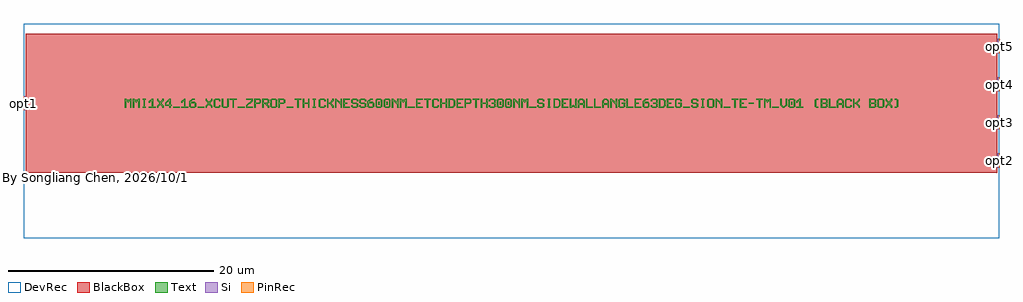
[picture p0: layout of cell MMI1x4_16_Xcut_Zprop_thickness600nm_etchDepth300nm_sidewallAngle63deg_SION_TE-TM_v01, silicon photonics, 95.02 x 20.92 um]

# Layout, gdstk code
import gdstk
lib = gdstk.Library(unit=1e-6, precision=1e-10)
def R(c, l, rs):  # rectangles x0, y0, x1, y1
    for r in rs: c.add(gdstk.rectangle(r[:2], r[2:], *l))
def A(c, l, x, y, w, h, nx, ny, dx, dy):  # array of equal rectangles
    R(c, l, [(x+i*dx, y+j*dy, x+i*dx+w, y+j*dy+h) for i in range(nx) for j in range(ny)])
def P(c, l, *ps):  # polygons
    for p in ps: c.add(gdstk.Polygon(p, *l))
Si = (1, 0)
PinRec = (1, 10)
Text = (10, 0)
DevRec = (68, 0)
BlackBox = (998, 0)

text = lib.new_cell('TEXT')
A(text, Text, 15.76, 0, 0.657, 0.131, 3, 1, 11.82, 0)
R(text, Text, [(4.728,0,5.385,0.131), (7.092,0,7.749,0.131), (11.032,0,11.689,0.131), (54.372,0,55.029,0.131), (58.312,0,58.969,0.131), (63.04,0,63.697,0.131), (24.691,0.328,24.822,0.591), (25.479,0.328,25.61,0.591), (36.511,0.328,36.642,0.591), (37.299,0.328,37.43,0.591), (64.879,0.328,65.01,0.591), (60.742,0.394,61.267,0.526)])
P(text, Text, [(0,0),(0,0.92),(0.131,0.92),(0.263,0.788),(0.394,0.788),(0.526,0.92),(0.657,0.92),(0.657,0),(0.526,0),(0.526,0.657),(0.46,0.657),(0.328,0.526),(0.197,0.657),(0.131,0.657),(0.131,0)],
  [(0.788,0),(0.788,0.92),(0.919,0.92),(1.051,0.788),(1.182,0.788),(1.314,0.92),(1.445,0.92),(1.445,0),(1.314,0),(1.314,0.657),(1.248,0.657),(1.116,0.526),(0.985,0.657),(0.919,0.657),(0.919,0)],
  [(1.773,0),(1.773,0.131),(1.839,0.131),(1.839,0.788),(1.773,0.788),(1.773,0.92),(2.036,0.92),(2.036,0.788),(1.97,0.788),(1.97,0.131),(2.036,0.131),(2.036,0)],
  [(2.364,0),(2.364,0.131),(2.627,0.131),(2.627,0.657),(2.561,0.657),(2.43,0.526),(2.364,0.526),(2.364,0.657),(2.627,0.92),(2.758,0.92),(2.758,0.131),(3.021,0.131),(3.021,0)],
  [(3.152,0),(3.152,0.197),(3.349,0.394),(3.349,0.526),(3.152,0.723),(3.152,0.92),(3.283,0.92),(3.283,0.788),(3.48,0.591),(3.678,0.788),(3.678,0.92),(3.809,0.92),(3.809,0.723),(3.612,0.526),(3.612,0.394),(3.809,0.197),(3.809,0),(3.678,0),(3.678,0.131),(3.48,0.328),(3.283,0.131),(3.283,0)],
  [(4.334,0),(4.334,0.197),(3.94,0.197),(3.94,0.328),(4.334,0.328),(4.334,0.657),(4.268,0.657),(4.071,0.46),(4.071,0.328),(3.94,0.328),(3.94,0.526),(4.334,0.92),(4.466,0.92),(4.466,0.328),(4.597,0.328),(4.597,0.197),(4.466,0.197),(4.466,0)],
  [(5.516,0),(5.516,0.131),(5.779,0.131),(5.779,0.657),(5.713,0.657),(5.582,0.526),(5.516,0.526),(5.516,0.657),(5.779,0.92),(5.91,0.92),(5.91,0.131),(6.173,0.131),(6.173,0)],
  [(6.435,0),(6.304,0.131),(6.304,0.657),(6.567,0.92),(6.83,0.92),(6.83,0.788),(6.632,0.788),(6.501,0.657),(6.501,0.591),(6.83,0.591),(6.961,0.46),(6.501,0.46),(6.435,0.394),(6.435,0.197),(6.501,0.131),(6.764,0.131),(6.83,0.197),(6.83,0.394),(6.764,0.46),(6.961,0.46),(6.961,0.131),(6.83,0)],
  [(7.88,0),(7.88,0.197),(8.077,0.394),(8.077,0.526),(7.88,0.723),(7.88,0.92),(8.011,0.92),(8.011,0.788),(8.208,0.591),(8.406,0.788),(8.406,0.92),(8.537,0.92),(8.537,0.723),(8.34,0.526),(8.34,0.394),(8.537,0.197),(8.537,0),(8.406,0),(8.406,0.131),(8.208,0.328),(8.011,0.131),(8.011,0)],
  [(8.799,0),(8.668,0.131),(8.668,0.788),(8.799,0.92),(9.194,0.92),(9.325,0.788),(9.325,0.657),(9.194,0.657),(9.194,0.723),(9.128,0.788),(8.865,0.788),(8.799,0.723),(8.799,0.197),(8.865,0.131),(9.128,0.131),(9.194,0.197),(9.194,0.263),(9.325,0.263),(9.325,0.131),(9.194,0)],
  [(9.587,0),(9.456,0.131),(9.456,0.92),(9.587,0.92),(9.587,0.197),(9.653,0.131),(9.916,0.131),(9.982,0.197),(9.982,0.92),(10.113,0.92),(10.113,0.131),(9.982,0)],
  [(10.507,0),(10.507,0.788),(10.244,0.788),(10.244,0.92),(10.901,0.92),(10.901,0.788),(10.638,0.788),(10.638,0)],
  [(11.82,0),(11.82,0.263),(12.083,0.526),(12.148,0.526),(12.346,0.723),(12.346,0.788),(11.82,0.788),(11.82,0.92),(12.477,0.92),(12.477,0.657),(12.214,0.394),(12.148,0.394),(11.951,0.197),(11.951,0.131),(12.477,0.131),(12.477,0)],
  [(12.608,0),(12.608,0.92),(13.134,0.92),(13.265,0.788),(13.265,0.526),(13.134,0.394),(12.739,0.394),(12.739,0.526),(13.068,0.526),(13.134,0.591),(13.134,0.723),(13.068,0.788),(12.739,0.788),(12.739,0)],
  [(13.396,0),(13.396,0.92),(13.922,0.92),(14.053,0.788),(13.527,0.788),(13.527,0.526),(13.856,0.526),(13.922,0.591),(13.922,0.723),(13.856,0.788),(14.053,0.788),(14.053,0.526),(13.922,0.394),(13.922,0.328),(14.053,0.197),(14.053,0),(13.922,0),(13.922,0.131),(13.659,0.394),(13.527,0.394),(13.527,0)],
  [(14.315,0),(14.184,0.131),(14.184,0.788),(14.315,0.92),(14.71,0.92),(14.841,0.788),(14.841,0.46),(14.71,0.46),(14.71,0.723),(14.644,0.788),(14.381,0.788),(14.315,0.723),(14.315,0.197),(14.381,0.131),(14.644,0.131),(14.71,0.197),(14.71,0.46),(14.841,0.46),(14.841,0.131),(14.71,0)],
  [(14.972,0),(14.972,0.92),(15.498,0.92),(15.629,0.788),(15.629,0.526),(15.498,0.394),(15.103,0.394),(15.103,0.526),(15.432,0.526),(15.498,0.591),(15.498,0.723),(15.432,0.788),(15.103,0.788),(15.103,0)],
  [(16.811,0),(16.811,0.788),(16.548,0.788),(16.548,0.92),(17.205,0.92),(17.205,0.788),(16.942,0.788),(16.942,0)],
  [(17.336,0),(17.336,0.92),(17.467,0.92),(17.467,0.526),(17.862,0.526),(17.862,0.92),(17.993,0.92),(17.993,0),(17.862,0),(17.862,0.394),(17.467,0.394),(17.467,0)],
  [(18.321,0),(18.321,0.131),(18.387,0.131),(18.387,0.788),(18.321,0.788),(18.321,0.92),(18.584,0.92),(18.584,0.788),(18.518,0.788),(18.518,0.131),(18.584,0.131),(18.584,0)],
  [(19.043,0),(18.912,0.131),(18.912,0.788),(19.043,0.92),(19.438,0.92),(19.569,0.788),(19.569,0.657),(19.438,0.657),(19.438,0.723),(19.372,0.788),(19.109,0.788),(19.043,0.723),(19.043,0.197),(19.109,0.131),(19.372,0.131),(19.438,0.197),(19.438,0.263),(19.569,0.263),(19.569,0.131),(19.438,0)],
  [(19.7,0),(19.7,0.92),(19.831,0.92),(19.831,0.526),(19.963,0.526),(20.226,0.788),(20.226,0.92),(20.357,0.92),(20.357,0.723),(20.094,0.46),(20.357,0.197),(20.357,0),(20.226,0),(20.226,0.131),(19.963,0.394),(19.831,0.394),(19.831,0)],
  [(20.488,0),(20.488,0.92),(20.619,0.92),(20.948,0.591),(21.014,0.591),(21.014,0.92),(21.145,0.92),(21.145,0),(21.014,0),(21.014,0.328),(20.685,0.657),(20.619,0.657),(20.619,0)],
  [(21.276,0),(21.276,0.92),(21.933,0.92),(21.933,0.788),(21.407,0.788),(21.407,0.526),(21.67,0.526),(21.67,0.394),(21.407,0.394),(21.407,0.131),(21.933,0.131),(21.933,0)],
  [(22.195,0),(22.064,0.131),(22.064,0.263),(22.195,0.263),(22.195,0.197),(22.261,0.131),(22.524,0.131),(22.59,0.197),(22.59,0.328),(22.524,0.394),(22.195,0.394),(22.064,0.526),(22.064,0.788),(22.195,0.92),(22.59,0.92),(22.721,0.788),(22.721,0.657),(22.59,0.657),(22.59,0.723),(22.524,0.788),(22.261,0.788),(22.195,0.723),(22.195,0.591),(22.261,0.526),(22.59,0.526),(22.721,0.394),(22.721,0.131),(22.59,0)],
  [(22.983,0),(22.852,0.131),(22.852,0.263),(22.983,0.263),(22.983,0.197),(23.049,0.131),(23.312,0.131),(23.378,0.197),(23.378,0.328),(23.312,0.394),(22.983,0.394),(22.852,0.526),(22.852,0.788),(22.983,0.92),(23.378,0.92),(23.509,0.788),(23.509,0.657),(23.378,0.657),(23.378,0.723),(23.312,0.788),(23.049,0.788),(22.983,0.723),(22.983,0.591),(23.049,0.526),(23.378,0.526),(23.509,0.394),(23.509,0.131),(23.378,0)],
  [(23.771,0),(23.64,0.131),(23.64,0.657),(23.903,0.92),(24.166,0.92),(24.166,0.788),(23.968,0.788),(23.837,0.657),(23.837,0.591),(24.166,0.591),(24.297,0.46),(23.837,0.46),(23.771,0.394),(23.771,0.197),(23.837,0.131),(24.1,0.131),(24.166,0.197),(24.166,0.394),(24.1,0.46),(24.297,0.46),(24.297,0.131),(24.166,0)],
  [(24.559,0),(24.428,0.131),(24.428,0.788),(24.559,0.92),(24.954,0.92),(25.085,0.788),(24.625,0.788),(24.559,0.723),(24.559,0.197),(24.625,0.131),(24.888,0.131),(24.954,0.197),(24.954,0.723),(24.888,0.788),(25.085,0.788),(25.085,0.131),(24.954,0)],
  [(25.347,0),(25.216,0.131),(25.216,0.788),(25.347,0.92),(25.742,0.92),(25.873,0.788),(25.413,0.788),(25.347,0.723),(25.347,0.197),(25.413,0.131),(25.676,0.131),(25.742,0.197),(25.742,0.723),(25.676,0.788),(25.873,0.788),(25.873,0.131),(25.742,0)],
  [(26.004,0),(26.004,0.92),(26.135,0.92),(26.464,0.591),(26.53,0.591),(26.53,0.92),(26.661,0.92),(26.661,0),(26.53,0),(26.53,0.328),(26.201,0.657),(26.135,0.657),(26.135,0)],
  [(26.792,0),(26.792,0.92),(26.923,0.92),(27.055,0.788),(27.186,0.788),(27.318,0.92),(27.449,0.92),(27.449,0),(27.318,0),(27.318,0.657),(27.252,0.657),(27.12,0.526),(26.989,0.657),(26.923,0.657),(26.923,0)],
  [(28.368,0),(28.368,0.92),(29.025,0.92),(29.025,0.788),(28.499,0.788),(28.499,0.526),(28.762,0.526),(28.762,0.394),(28.499,0.394),(28.499,0.131),(29.025,0.131),(29.025,0)],
  [(29.419,0),(29.419,0.788),(29.156,0.788),(29.156,0.92),(29.813,0.92),(29.813,0.788),(29.55,0.788),(29.55,0)],
  [(30.075,0),(29.944,0.131),(29.944,0.788),(30.075,0.92),(30.47,0.92),(30.601,0.788),(30.601,0.657),(30.47,0.657),(30.47,0.723),(30.404,0.788),(30.141,0.788),(30.075,0.723),(30.075,0.197),(30.141,0.131),(30.404,0.131),(30.47,0.197),(30.47,0.263),(30.601,0.263),(30.601,0.131),(30.47,0)],
  [(30.732,0),(30.732,0.92),(30.863,0.92),(30.863,0.526),(31.258,0.526),(31.258,0.92),(31.389,0.92),(31.389,0),(31.258,0),(31.258,0.394),(30.863,0.394),(30.863,0)],
  [(31.52,0),(31.52,0.92),(31.98,0.92),(32.111,0.788),(31.651,0.788),(31.651,0.131),(31.914,0.131),(32.046,0.263),(32.046,0.657),(31.914,0.788),(32.111,0.788),(32.177,0.723),(32.177,0.197),(31.98,0)],
  [(32.308,0),(32.308,0.92),(32.965,0.92),(32.965,0.788),(32.439,0.788),(32.439,0.526),(32.702,0.526),(32.702,0.394),(32.439,0.394),(32.439,0.131),(32.965,0.131),(32.965,0)],
  [(33.096,0),(33.096,0.92),(33.622,0.92),(33.753,0.788),(33.753,0.526),(33.622,0.394),(33.227,0.394),(33.227,0.526),(33.556,0.526),(33.622,0.591),(33.622,0.723),(33.556,0.788),(33.227,0.788),(33.227,0)],
  [(34.147,0),(34.147,0.788),(33.884,0.788),(33.884,0.92),(34.541,0.92),(34.541,0.788),(34.278,0.788),(34.278,0)],
  [(34.672,0),(34.672,0.92),(34.803,0.92),(34.803,0.526),(35.198,0.526),(35.198,0.92),(35.329,0.92),(35.329,0),(35.198,0),(35.198,0.394),(34.803,0.394),(34.803,0)],
  [(35.591,0),(35.46,0.131),(35.46,0.263),(35.591,0.263),(35.591,0.197),(35.657,0.131),(35.92,0.131),(35.986,0.197),(35.986,0.328),(35.92,0.394),(35.723,0.394),(35.723,0.526),(35.92,0.526),(35.986,0.591),(35.986,0.723),(35.92,0.788),(35.657,0.788),(35.591,0.723),(35.591,0.657),(35.46,0.657),(35.46,0.788),(35.591,0.92),(35.986,0.92),(36.117,0.788),(36.117,0.526),(36.051,0.46),(36.117,0.394),(36.117,0.131),(35.986,0)],
  [(36.379,0),(36.248,0.131),(36.248,0.788),(36.379,0.92),(36.774,0.92),(36.905,0.788),(36.445,0.788),(36.379,0.723),(36.379,0.197),(36.445,0.131),(36.708,0.131),(36.774,0.197),(36.774,0.723),(36.708,0.788),(36.905,0.788),(36.905,0.131),(36.774,0)],
  [(37.167,0),(37.036,0.131),(37.036,0.788),(37.167,0.92),(37.562,0.92),(37.693,0.788),(37.233,0.788),(37.167,0.723),(37.167,0.197),(37.233,0.131),(37.496,0.131),(37.562,0.197),(37.562,0.723),(37.496,0.788),(37.693,0.788),(37.693,0.131),(37.562,0)],
  [(37.824,0),(37.824,0.92),(37.955,0.92),(38.284,0.591),(38.35,0.591),(38.35,0.92),(38.481,0.92),(38.481,0),(38.35,0),(38.35,0.328),(38.021,0.657),(37.955,0.657),(37.955,0)],
  [(38.612,0),(38.612,0.92),(38.743,0.92),(38.875,0.788),(39.006,0.788),(39.138,0.92),(39.269,0.92),(39.269,0),(39.138,0),(39.138,0.657),(39.072,0.657),(38.94,0.526),(38.809,0.657),(38.743,0.657),(38.743,0)],
  [(40.319,0),(40.188,0.131),(40.188,0.263),(40.319,0.263),(40.319,0.197),(40.385,0.131),(40.648,0.131),(40.714,0.197),(40.714,0.328),(40.648,0.394),(40.319,0.394),(40.188,0.526),(40.188,0.788),(40.319,0.92),(40.714,0.92),(40.845,0.788),(40.845,0.657),(40.714,0.657),(40.714,0.723),(40.648,0.788),(40.385,0.788),(40.319,0.723),(40.319,0.591),(40.385,0.526),(40.714,0.526),(40.845,0.394),(40.845,0.131),(40.714,0)],
  [(41.173,0),(41.173,0.131),(41.239,0.131),(41.239,0.788),(41.173,0.788),(41.173,0.92),(41.436,0.92),(41.436,0.788),(41.37,0.788),(41.37,0.131),(41.436,0.131),(41.436,0)],
  [(41.764,0),(41.764,0.92),(42.224,0.92),(42.355,0.788),(41.895,0.788),(41.895,0.131),(42.158,0.131),(42.29,0.263),(42.29,0.657),(42.158,0.788),(42.355,0.788),(42.421,0.723),(42.421,0.197),(42.224,0)],
  [(42.552,0),(42.552,0.92),(43.209,0.92),(43.209,0.788),(42.683,0.788),(42.683,0.526),(42.946,0.526),(42.946,0.394),(42.683,0.394),(42.683,0.131),(43.209,0.131),(43.209,0)],
  [(43.34,0),(43.34,0.92),(43.471,0.92),(43.471,0.197),(43.537,0.197),(43.668,0.328),(43.8,0.197),(43.866,0.197),(43.866,0.92),(43.997,0.92),(43.997,0),(43.8,0),(43.668,0.131),(43.537,0)],
  [(44.128,0),(44.128,0.723),(44.325,0.92),(44.588,0.92),(44.719,0.788),(44.391,0.788),(44.259,0.657),(44.259,0.46),(44.654,0.46),(44.654,0.657),(44.522,0.788),(44.719,0.788),(44.785,0.723),(44.785,0),(44.654,0),(44.654,0.328),(44.259,0.328),(44.259,0)],
  [(44.916,0),(44.916,0.92),(45.047,0.92),(45.047,0.131),(45.573,0.131),(45.573,0)],
  [(45.704,0),(45.704,0.92),(45.835,0.92),(45.835,0.131),(46.361,0.131),(46.361,0)],
  [(46.492,0),(46.492,0.723),(46.689,0.92),(46.952,0.92),(47.083,0.788),(46.755,0.788),(46.623,0.657),(46.623,0.46),(47.018,0.46),(47.018,0.657),(46.886,0.788),(47.083,0.788),(47.149,0.723),(47.149,0),(47.018,0),(47.018,0.328),(46.623,0.328),(46.623,0)],
  [(47.28,0),(47.28,0.92),(47.411,0.92),(47.74,0.591),(47.806,0.591),(47.806,0.92),(47.937,0.92),(47.937,0),(47.806,0),(47.806,0.328),(47.477,0.657),(47.411,0.657),(47.411,0)],
  [(48.199,0),(48.068,0.131),(48.068,0.788),(48.199,0.92),(48.594,0.92),(48.725,0.788),(48.725,0.657),(48.594,0.657),(48.594,0.723),(48.528,0.788),(48.265,0.788),(48.199,0.723),(48.199,0.197),(48.265,0.131),(48.528,0.131),(48.594,0.197),(48.594,0.394),(48.396,0.394),(48.396,0.526),(48.725,0.526),(48.725,0.131),(48.594,0)],
  [(48.856,0),(48.856,0.92),(48.987,0.92),(48.987,0.131),(49.513,0.131),(49.513,0)],
  [(49.644,0),(49.644,0.92),(50.301,0.92),(50.301,0.788),(49.775,0.788),(49.775,0.526),(50.038,0.526),(50.038,0.394),(49.775,0.394),(49.775,0.131),(50.301,0.131),(50.301,0)],
  [(50.563,0),(50.432,0.131),(50.432,0.657),(50.695,0.92),(50.958,0.92),(50.958,0.788),(50.76,0.788),(50.629,0.657),(50.629,0.591),(50.958,0.591),(51.089,0.46),(50.629,0.46),(50.563,0.394),(50.563,0.197),(50.629,0.131),(50.892,0.131),(50.958,0.197),(50.958,0.394),(50.892,0.46),(51.089,0.46),(51.089,0.131),(50.958,0)],
  [(51.351,0),(51.22,0.131),(51.22,0.263),(51.351,0.263),(51.351,0.197),(51.417,0.131),(51.68,0.131),(51.746,0.197),(51.746,0.328),(51.68,0.394),(51.483,0.394),(51.483,0.526),(51.68,0.526),(51.746,0.591),(51.746,0.723),(51.68,0.788),(51.417,0.788),(51.351,0.723),(51.351,0.657),(51.22,0.657),(51.22,0.788),(51.351,0.92),(51.746,0.92),(51.877,0.788),(51.877,0.526),(51.811,0.46),(51.877,0.394),(51.877,0.131),(51.746,0)],
  [(52.008,0),(52.008,0.92),(52.468,0.92),(52.599,0.788),(52.139,0.788),(52.139,0.131),(52.402,0.131),(52.534,0.263),(52.534,0.657),(52.402,0.788),(52.599,0.788),(52.665,0.723),(52.665,0.197),(52.468,0)],
  [(52.796,0),(52.796,0.92),(53.453,0.92),(53.453,0.788),(52.927,0.788),(52.927,0.526),(53.19,0.526),(53.19,0.394),(52.927,0.394),(52.927,0.131),(53.453,0.131),(53.453,0)],
  [(53.715,0),(53.584,0.131),(53.584,0.788),(53.715,0.92),(54.11,0.92),(54.241,0.788),(54.241,0.657),(54.11,0.657),(54.11,0.723),(54.044,0.788),(53.781,0.788),(53.715,0.723),(53.715,0.197),(53.781,0.131),(54.044,0.131),(54.11,0.197),(54.11,0.394),(53.912,0.394),(53.912,0.526),(54.241,0.526),(54.241,0.131),(54.11,0)],
  [(55.291,0),(55.16,0.131),(55.16,0.263),(55.291,0.263),(55.291,0.197),(55.357,0.131),(55.62,0.131),(55.686,0.197),(55.686,0.328),(55.62,0.394),(55.291,0.394),(55.16,0.526),(55.16,0.788),(55.291,0.92),(55.686,0.92),(55.817,0.788),(55.817,0.657),(55.686,0.657),(55.686,0.723),(55.62,0.788),(55.357,0.788),(55.291,0.723),(55.291,0.591),(55.357,0.526),(55.686,0.526),(55.817,0.394),(55.817,0.131),(55.686,0)],
  [(56.145,0),(56.145,0.131),(56.211,0.131),(56.211,0.788),(56.145,0.788),(56.145,0.92),(56.408,0.92),(56.408,0.788),(56.342,0.788),(56.342,0.131),(56.408,0.131),(56.408,0)],
  [(56.867,0),(56.736,0.131),(56.736,0.788),(56.867,0.92),(57.262,0.92),(57.393,0.788),(57.393,0.46),(57.262,0.46),(57.262,0.723),(57.196,0.788),(56.933,0.788),(56.867,0.723),(56.867,0.197),(56.933,0.131),(57.196,0.131),(57.262,0.197),(57.262,0.46),(57.393,0.46),(57.393,0.131),(57.262,0)],
  [(57.524,0),(57.524,0.92),(57.655,0.92),(57.984,0.591),(58.05,0.591),(58.05,0.92),(58.181,0.92),(58.181,0),(58.05,0),(58.05,0.328),(57.721,0.657),(57.655,0.657),(57.655,0)],
  [(59.363,0),(59.363,0.788),(59.1,0.788),(59.1,0.92),(59.757,0.92),(59.757,0.788),(59.494,0.788),(59.494,0)],
  [(59.888,0),(59.888,0.92),(60.545,0.92),(60.545,0.788),(60.019,0.788),(60.019,0.526),(60.282,0.526),(60.282,0.394),(60.019,0.394),(60.019,0.131),(60.545,0.131),(60.545,0)],
  [(61.727,0),(61.727,0.788),(61.464,0.788),(61.464,0.92),(62.121,0.92),(62.121,0.788),(61.858,0.788),(61.858,0)],
  [(62.252,0),(62.252,0.92),(62.383,0.92),(62.515,0.788),(62.646,0.788),(62.778,0.92),(62.909,0.92),(62.909,0),(62.778,0),(62.778,0.657),(62.712,0.657),(62.58,0.526),(62.449,0.657),(62.383,0.657),(62.383,0)],
  [(64.091,0),(63.828,0.263),(63.828,0.92),(63.959,0.92),(63.959,0.328),(64.156,0.131),(64.354,0.328),(64.354,0.92),(64.485,0.92),(64.485,0.263),(64.222,0)],
  [(64.747,0),(64.616,0.131),(64.616,0.788),(64.747,0.92),(65.142,0.92),(65.273,0.788),(64.813,0.788),(64.747,0.723),(64.747,0.197),(64.813,0.131),(65.076,0.131),(65.142,0.197),(65.142,0.723),(65.076,0.788),(65.273,0.788),(65.273,0.131),(65.142,0)],
  [(65.404,0),(65.404,0.131),(65.667,0.131),(65.667,0.657),(65.601,0.657),(65.47,0.526),(65.404,0.526),(65.404,0.657),(65.667,0.92),(65.798,0.92),(65.798,0.131),(66.061,0.131),(66.061,0)],
  [(67.308,0),(67.177,0.131),(67.177,0.788),(67.308,0.92),(67.506,0.92),(67.506,0.788),(67.374,0.788),(67.308,0.723),(67.308,0.197),(67.374,0.131),(67.506,0.131),(67.506,0)],
  [(67.768,0),(67.768,0.92),(68.294,0.92),(68.425,0.788),(67.899,0.788),(67.899,0.526),(68.228,0.526),(68.294,0.591),(68.294,0.723),(68.228,0.788),(68.425,0.788),(68.425,0.526),(68.359,0.46),(68.425,0.394),(67.899,0.394),(67.899,0.131),(68.228,0.131),(68.294,0.197),(68.294,0.328),(68.228,0.394),(68.425,0.394),(68.425,0.131),(68.294,0)],
  [(68.556,0),(68.556,0.92),(68.687,0.92),(68.687,0.131),(69.213,0.131),(69.213,0)],
  [(69.344,0),(69.344,0.723),(69.541,0.92),(69.804,0.92),(69.935,0.788),(69.607,0.788),(69.475,0.657),(69.475,0.46),(69.87,0.46),(69.87,0.657),(69.738,0.788),(69.935,0.788),(70.001,0.723),(70.001,0),(69.87,0),(69.87,0.328),(69.475,0.328),(69.475,0)],
  [(70.263,0),(70.132,0.131),(70.132,0.788),(70.263,0.92),(70.658,0.92),(70.789,0.788),(70.789,0.657),(70.658,0.657),(70.658,0.723),(70.592,0.788),(70.329,0.788),(70.263,0.723),(70.263,0.197),(70.329,0.131),(70.592,0.131),(70.658,0.197),(70.658,0.263),(70.789,0.263),(70.789,0.131),(70.658,0)],
  [(70.92,0),(70.92,0.92),(71.051,0.92),(71.051,0.526),(71.183,0.526),(71.446,0.788),(71.446,0.92),(71.577,0.92),(71.577,0.723),(71.314,0.46),(71.577,0.197),(71.577,0),(71.446,0),(71.446,0.131),(71.183,0.394),(71.051,0.394),(71.051,0)],
  [(72.496,0),(72.496,0.92),(73.022,0.92),(73.153,0.788),(72.627,0.788),(72.627,0.526),(72.956,0.526),(73.022,0.591),(73.022,0.723),(72.956,0.788),(73.153,0.788),(73.153,0.526),(73.087,0.46),(73.153,0.394),(72.627,0.394),(72.627,0.131),(72.956,0.131),(73.022,0.197),(73.022,0.328),(72.956,0.394),(73.153,0.394),(73.153,0.131),(73.022,0)],
  [(73.415,0),(73.284,0.131),(73.284,0.788),(73.415,0.92),(73.81,0.92),(73.941,0.788),(73.941,0.46),(73.81,0.46),(73.81,0.723),(73.744,0.788),(73.481,0.788),(73.415,0.723),(73.415,0.197),(73.481,0.131),(73.744,0.131),(73.81,0.197),(73.81,0.46),(73.941,0.46),(73.941,0.131),(73.81,0)],
  [(74.072,0),(74.072,0.197),(74.269,0.394),(74.269,0.526),(74.072,0.723),(74.072,0.92),(74.203,0.92),(74.203,0.788),(74.4,0.591),(74.598,0.788),(74.598,0.92),(74.729,0.92),(74.729,0.723),(74.532,0.526),(74.532,0.394),(74.729,0.197),(74.729,0),(74.598,0),(74.598,0.131),(74.4,0.328),(74.203,0.131),(74.203,0)],
  [(74.991,0),(74.991,0.131),(75.123,0.131),(75.188,0.197),(75.188,0.723),(75.123,0.788),(74.991,0.788),(74.991,0.92),(75.188,0.92),(75.32,0.788),(75.32,0.131),(75.188,0)])

mmi1x4_16_xcut_zprop_thi = lib.new_cell('MMI1x4_16_Xcut_Zprop_thickness600nm_etchDepth300nm_sidewallAngle63deg_SION_TE-TM_v01')
R(mmi1x4_16_xcut_zprop_thi, Si, [(47.3,-6.2586,47.5,-4.8586), (47.3,-2.5529,47.5,-1.1529), (-47.5,-0.7,-47.3,0.7), (47.3,1.1529,47.5,2.5529), (47.3,4.8586,47.5,6.2586)])
R(mmi1x4_16_xcut_zprop_thi, DevRec, [(-47.5,-13.1586,47.5,7.7586)])
R(mmi1x4_16_xcut_zprop_thi, BlackBox, [(-47.3,-6.7586,47.3,6.7586)])
mmi1x4_16_xcut_zprop_thi.add(gdstk.FlexPath([(-47.49,0),(-47.51,0)], 1.4, ends="flush", simple_path=True, layer=1, datatype=10))  # PinRec
mmi1x4_16_xcut_zprop_thi.add(gdstk.FlexPath([(47.49,-5.5586),(47.51,-5.5586)], 1.4, ends="flush", simple_path=True, layer=1, datatype=10))  # PinRec
mmi1x4_16_xcut_zprop_thi.add(gdstk.FlexPath([(47.49,-1.8529),(47.51,-1.8529)], 1.4, ends="flush", simple_path=True, layer=1, datatype=10))  # PinRec
mmi1x4_16_xcut_zprop_thi.add(gdstk.FlexPath([(47.49,1.8529),(47.51,1.8529)], 1.4, ends="flush", simple_path=True, layer=1, datatype=10))  # PinRec
mmi1x4_16_xcut_zprop_thi.add(gdstk.FlexPath([(47.49,5.5586),(47.51,5.5586)], 1.4, ends="flush", simple_path=True, layer=1, datatype=10))  # PinRec
mmi1x4_16_xcut_zprop_thi.add(gdstk.Reference(text, (-37.66,-0.46)))
mmi1x4_16_xcut_zprop_thi.add(gdstk.Label('opt1', (-47.5,0), layer=1, texttype=10))
mmi1x4_16_xcut_zprop_thi.add(gdstk.Label('opt2', (47.5,-5.5586), layer=1, texttype=10))
mmi1x4_16_xcut_zprop_thi.add(gdstk.Label('opt3', (47.5,-1.8529), layer=1, texttype=10))
mmi1x4_16_xcut_zprop_thi.add(gdstk.Label('opt4', (47.5,1.8529), layer=1, texttype=10))
mmi1x4_16_xcut_zprop_thi.add(gdstk.Label('opt5', (47.5,5.5586), layer=1, texttype=10))
mmi1x4_16_xcut_zprop_thi.add(gdstk.Label('By Songliang Chen, 2026/10/13', (-47,-7.2586), layer=10, texttype=0))

lib.write_gds('MMI1x4_16_Xcut_Zprop_thickness600nm_etchDepth300nm_sidewallAngle63deg_SION_TE-TM_v01.gds')
